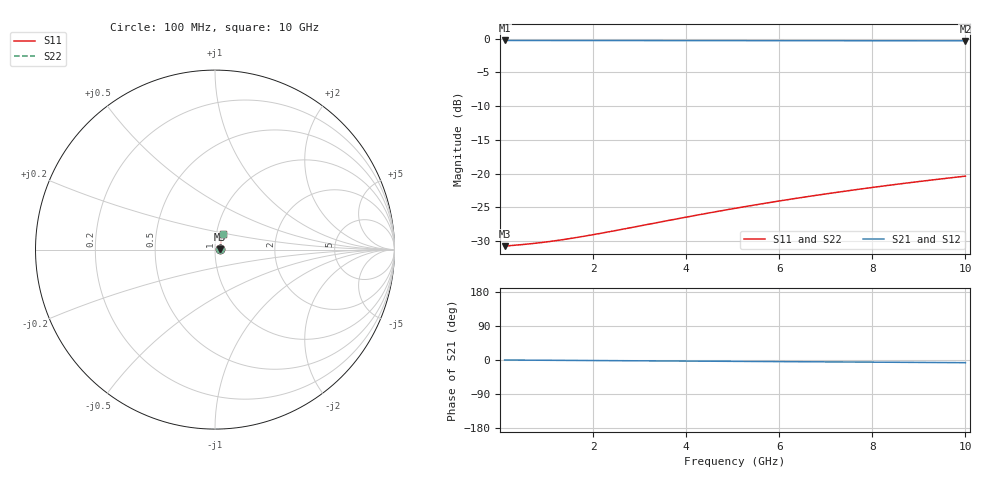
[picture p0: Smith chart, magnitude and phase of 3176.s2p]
# Hz S RI R 50.00
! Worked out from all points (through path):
!   100 points, 100 MHz to 10 GHz, reference 50 ohm
!   highest |S21| = -0.26 dB at 100 MHz (marker M1); lowest = -0.3 dB at 10 GHz (marker M2)
!   lowest |S11| = -30.7 dB at 100 MHz (marker M3), VSWR 1.06, Z = 53 + j0.0931 ohm
!   |S11| at or under -10 dB: start of sweep to end of sweep
!   |S22| runs from -30.7 to -20.4 dB; largest |S21 - S12| = 0
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1e8  0.029 0.000878  0.971 -0.0012  0.971 -0.0012  0.029 0.000878
6e8  0.0297 0.00526  0.9703 -0.0072  0.9703 -0.0072  0.0297 0.00526
8e8  0.0298 0.00701  0.9702 -0.00959  0.9702 -0.00959  0.0298 0.00701
1e9  0.03 0.00876  0.97 -0.012  0.97 -0.012  0.03 0.00876
1.2e9  0.0301 0.0105  0.9699 -0.0144  0.9699 -0.0144  0.0301 0.0105
1.4e9  0.0303 0.0123  0.9697 -0.0168  0.9697 -0.0168  0.0303 0.0123
1.8e9  0.0305 0.0157  0.9694 -0.0216  0.9694 -0.0216  0.0305 0.0157
2.1e9  0.0308 0.0184  0.9692 -0.0251  0.9692 -0.0251  0.0308 0.0184
2.4e9  0.031 0.021  0.969 -0.0287  0.969 -0.0287  0.031 0.021
3.4e9  0.0318 0.0297  0.9681 -0.0407  0.9681 -0.0407  0.0318 0.0297
4.3e9  0.0327 0.0375  0.9671 -0.0514  0.9671 -0.0514  0.0327 0.0375
4.7e9  0.0332 0.041  0.9667 -0.0561  0.9667 -0.0561  0.0332 0.041
5.1e9  0.0337 0.0444  0.9662 -0.0609  0.9662 -0.0609  0.0337 0.0444
5.5e9  0.0342 0.0479  0.9656 -0.0656  0.9656 -0.0656  0.0342 0.0479
5.9e9  0.0347 0.0513  0.9651 -0.0704  0.9651 -0.0704  0.0347 0.0513
6.3e9  0.0353 0.0547  0.9645 -0.0751  0.9645 -0.0751  0.0353 0.0547
6.7e9  0.0359 0.0582  0.9638 -0.0798  0.9638 -0.0798  0.0359 0.0582
7.5e9  0.0372 0.065  0.9625 -0.0892  0.9625 -0.0892  0.0372 0.065
7.9e9  0.0379 0.0684  0.9617 -0.0939  0.9617 -0.0939  0.0379 0.0684
8.4e9  0.0388 0.0727  0.9608 -0.0998  0.9608 -0.0998  0.0388 0.0727
9.2e9  0.0404 0.0794  0.9591 -0.1092  0.9591 -0.1092  0.0404 0.0794
1e10  0.0421 0.0862  0.9573 -0.1185  0.9573 -0.1185  0.0421 0.0862
